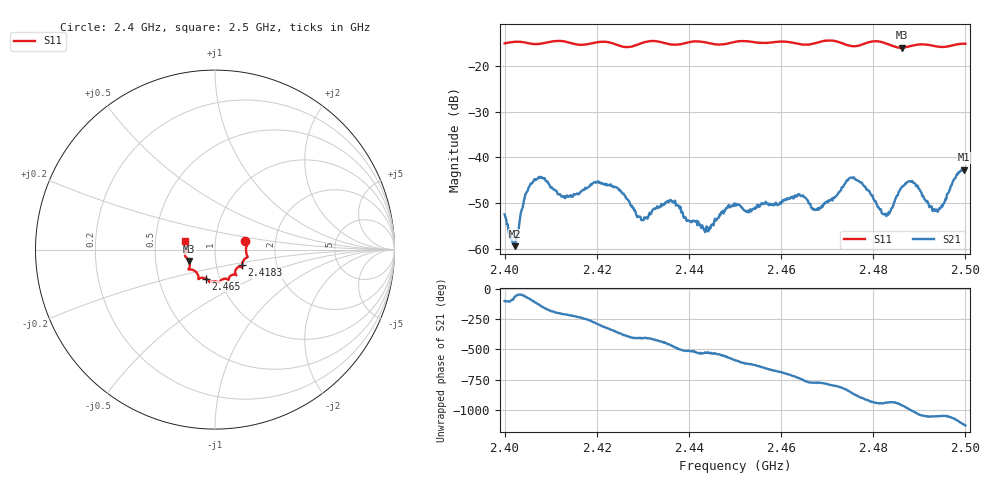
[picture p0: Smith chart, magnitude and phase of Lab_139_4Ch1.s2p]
# Hz S RI R 50
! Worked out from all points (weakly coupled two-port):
!   601 points, 2.4 GHz to 2.5 GHz, reference 50 ohm
!   highest |S21| = -42.64 dB at 2.4997 GHz (marker M1); lowest = -59.4 dB at 2.4022 GHz (marker M2)
!   lowest |S11| = -16.1 dB at 2.4862 GHz (marker M3), VSWR 1.37, Z = 37.2 - j4.8 ohm
!   |S11| at or under -10 dB: start of sweep to end of sweep
!   S12 and S22 are empty: the file has one direction only
!   S11 on the Smith chart (normalised r, x): 2.4 GHz: 1.40, +0.13; 2.4183 GHz: 1.33, -0.24; 2.465 GHz: 0.86, -0.29; 2.5 GHz: 0.71, +0.07
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2.4e9  0.1693 0.046  -0.000425 -0.00235  0 0  0 0
2.402167e9  0.179 0.036  0.000423 -0.00099  0 0  0 0
2.404667e9  0.1768 0.0226  0.00158 -0.00375  0 0  0 0
2.406667e9  0.1723 0.00104  -0.0022 -0.0052  0 0  0 0
2.412667e9  0.1803 -0.0429  -0.00333 0.00173  0 0  0 0
2.416667e9  0.1547 -0.068  -0.0023 0.0036  0 0  0 0
2.418333e9  0.15 -0.087  -0.000845 0.00474  0 0  0 0
2.4245e9  0.1388 -0.0953  0.00463 6.8e-05  0 0  0 0
2.429667e9  0.1133 -0.1348  0.00136 -0.00157  0 0  0 0
2.433333e9  0.1174 -0.1411  0.0011 -0.00259  0 0  0 0
2.4365e9  0.0947 -0.1412  -0.00132 -0.00303  0 0  0 0
2.443833e9  0.0694 -0.1647  -0.00172 -0.00044  0 0  0 0
2.45e9  0.0251 -0.1807  -0.00195 0.00223  0 0  0 0
2.465e9  -0.0525 -0.1616  0.003 -0.00219  0 0  0 0
2.466667e9  -0.0713 -0.157  0.00166 -0.00228  0 0  0 0
2.475333e9  -0.1037 -0.1268  -0.00441 -0.00408  0 0  0 0
2.483333e9  -0.1414 -0.0963  -0.00203 0.00151  0 0  0 0
2.486167e9  -0.144 -0.063  -0.00241 0.00406  0 0  0 0
2.488667e9  -0.1611 -0.0425  0.0019 0.00496  0 0  0 0
2.493833e9  -0.162 -0.0107  0.00231 0.00134  0 0  0 0
2.499667e9  -0.1682 0.0454  0.00574 -0.00463  0 0  0 0
2.5e9  -0.1674 0.047  0.00496 -0.00523  0 0  0 0
